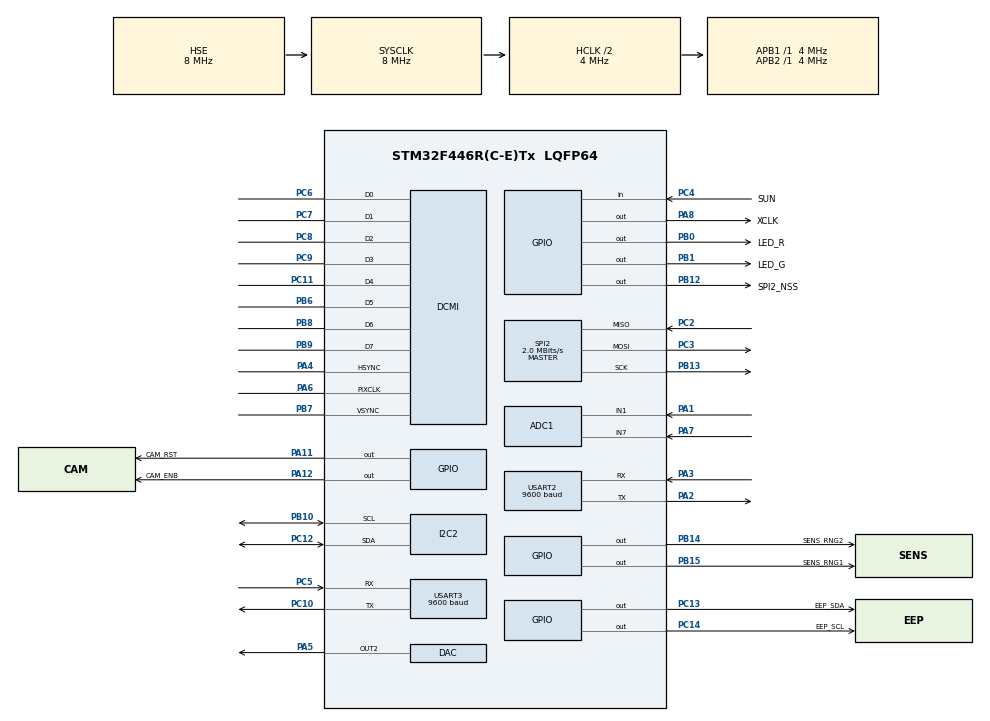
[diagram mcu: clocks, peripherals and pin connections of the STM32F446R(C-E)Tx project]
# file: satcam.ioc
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ADC1.Channel-0\#ChannelRegularConversion=ADC_CHANNEL_1
ADC1.ClockPrescaler=ADC_CLOCK_SYNC_PCLK_DIV2
ADC1.ContinuousConvMode=ENABLE
ADC1.EOCSelection=ADC_EOC_SEQ_CONV
ADC1.InjNumberOfConversion=0
ADC1.NbrOfConversion=1
ADC1.NbrOfConversionFlag=1
ADC1.Rank-0\#ChannelRegularConversion=1
ADC1.SamplingTime-0\#ChannelRegularConversion=ADC_SAMPLETIME_144CYCLES
ADC1.ScanConvMode=DISABLE
ADC1.master=1
DAC.DAC_OutputBuffer2=DAC_OUTPUTBUFFER_ENABLE
DAC.DAC_Trigger2=DAC_TRIGGER_T6_TRGO
DAC.WaveGeneration2=DISABLE
DCMI.JPEGMode=DCMI_JPEG_ENABLE
DCMI.PCKPolarity=DCMI_PCKPOLARITY_RISING
DCMI.VSPolarity=DCMI_VSPOLARITY_LOW
Dma.DAC2.0.Direction=DMA_MEMORY_TO_PERIPH
Dma.DAC2.0.FIFOMode=DMA_FIFOMODE_ENABLE
Dma.DAC2.0.FIFOThreshold=DMA_FIFO_THRESHOLD_FULL
Dma.DAC2.0.Instance=DMA1_Stream6
Dma.DAC2.0.MemBurst=DMA_MBURST_INC4
Dma.DAC2.0.MemDataAlignment=DMA_MDATAALIGN_BYTE
Dma.DAC2.0.MemInc=DMA_MINC_ENABLE
Dma.DAC2.0.Mode=DMA_CIRCULAR
Dma.DAC2.0.PeriphBurst=DMA_PBURST_SINGLE
Dma.DAC2.0.PeriphDataAlignment=DMA_PDATAALIGN_BYTE
Dma.DAC2.0.PeriphInc=DMA_PINC_DISABLE
Dma.DAC2.0.Priority=DMA_PRIORITY_HIGH
Dma.DCMI.1.Direction=DMA_PERIPH_TO_MEMORY
Dma.DCMI.1.FIFOMode=DMA_FIFOMODE_ENABLE
Dma.DCMI.1.FIFOThreshold=DMA_FIFO_THRESHOLD_FULL
Dma.DCMI.1.Instance=DMA2_Stream1
Dma.DCMI.1.MemBurst=DMA_MBURST_INC4
Dma.DCMI.1.MemDataAlignment=DMA_MDATAALIGN_WORD
Dma.DCMI.1.MemInc=DMA_MINC_ENABLE
Dma.DCMI.1.Mode=DMA_NORMAL
Dma.DCMI.1.PeriphBurst=DMA_PBURST_SINGLE
Dma.DCMI.1.PeriphDataAlignment=DMA_PDATAALIGN_WORD
Dma.DCMI.1.PeriphInc=DMA_PINC_DISABLE
Dma.DCMI.1.Priority=DMA_PRIORITY_HIGH
Dma.Request0=DAC2
Dma.Request1=DCMI
Dma.Request2=USART3_RX
Dma.Request3=SPI2_RX
Dma.Request4=SPI2_TX
Dma.Request5=USART2_RX
Dma.SPI2_RX.3.Direction=DMA_PERIPH_TO_MEMORY
Dma.SPI2_RX.3.FIFOMode=DMA_FIFOMODE_DISABLE
Dma.SPI2_RX.3.Instance=DMA1_Stream3
Dma.SPI2_RX.3.MemDataAlignment=DMA_MDATAALIGN_BYTE
Dma.SPI2_RX.3.MemInc=DMA_MINC_ENABLE
Dma.SPI2_RX.3.Mode=DMA_NORMAL
Dma.SPI2_RX.3.PeriphDataAlignment=DMA_PDATAALIGN_BYTE
Dma.SPI2_RX.3.PeriphInc=DMA_PINC_DISABLE
Dma.SPI2_RX.3.Priority=DMA_PRIORITY_LOW
Dma.SPI2_TX.4.Direction=DMA_MEMORY_TO_PERIPH
Dma.SPI2_TX.4.FIFOMode=DMA_FIFOMODE_DISABLE
Dma.SPI2_TX.4.Instance=DMA1_Stream4
Dma.SPI2_TX.4.MemDataAlignment=DMA_MDATAALIGN_BYTE
Dma.SPI2_TX.4.MemInc=DMA_MINC_ENABLE
Dma.SPI2_TX.4.Mode=DMA_NORMAL
Dma.SPI2_TX.4.PeriphDataAlignment=DMA_PDATAALIGN_BYTE
Dma.SPI2_TX.4.PeriphInc=DMA_PINC_DISABLE
Dma.SPI2_TX.4.Priority=DMA_PRIORITY_LOW
Dma.USART2_RX.5.Direction=DMA_PERIPH_TO_MEMORY
Dma.USART2_RX.5.FIFOMode=DMA_FIFOMODE_DISABLE
Dma.USART2_RX.5.Instance=DMA1_Stream5
Dma.USART2_RX.5.MemDataAlignment=DMA_MDATAALIGN_BYTE
Dma.USART2_RX.5.MemInc=DMA_MINC_ENABLE
Dma.USART2_RX.5.Mode=DMA_CIRCULAR
Dma.USART2_RX.5.PeriphDataAlignment=DMA_PDATAALIGN_BYTE
Dma.USART2_RX.5.PeriphInc=DMA_PINC_DISABLE
Dma.USART2_RX.5.Priority=DMA_PRIORITY_LOW
Dma.USART3_RX.2.Direction=DMA_PERIPH_TO_MEMORY
Dma.USART3_RX.2.FIFOMode=DMA_FIFOMODE_DISABLE
Dma.USART3_RX.2.Instance=DMA1_Stream1
Dma.USART3_RX.2.MemDataAlignment=DMA_MDATAALIGN_BYTE
Dma.USART3_RX.2.MemInc=DMA_MINC_ENABLE
Dma.USART3_RX.2.Mode=DMA_CIRCULAR
Dma.USART3_RX.2.PeriphDataAlignment=DMA_PDATAALIGN_BYTE
Dma.USART3_RX.2.PeriphInc=DMA_PINC_DISABLE
Dma.USART3_RX.2.Priority=DMA_PRIORITY_LOW
IWDG.Prescaler=IWDG_PRESCALER_32
IWDG.Reload=2000
Mcu.Family=STM32F4
Mcu.Name=STM32F446R(C-E)Tx
Mcu.Package=LQFP64
NVIC.DCMI_IRQn=true\:1\:0\:true\:false\:true
NVIC.DMA1_Stream1_IRQn=true\:2\:0\:true\:false\:true
NVIC.DMA1_Stream3_IRQn=true\:2\:0\:true\:false\:true
NVIC.DMA1_Stream4_IRQn=true\:2\:0\:true\:false\:true
NVIC.DMA1_Stream5_IRQn=true\:2\:0\:true\:false\:true
NVIC.DMA1_Stream6_IRQn=true\:1\:0\:true\:false\:true
NVIC.DMA2_Stream1_IRQn=true\:1\:0\:true\:false\:true
NVIC.PriorityGroup=NVIC_PRIORITYGROUP_2
NVIC.SPI2_IRQn=true\:2\:0\:true\:false\:true
NVIC.USART2_IRQn=true\:2\:0\:true\:false\:true
NVIC.USART3_IRQn=true\:2\:0\:true\:false\:true
PA1.Signal=ADCx_IN1
PA11.GPIO_Label=CAM_RST
PA11.Signal=GPIO_Output
PA12.GPIO_Label=CAM_ENB
PA12.Signal=GPIO_Output
PA13.Mode=Trace_Asynchronous_SW
PA13.Signal=SYS_JTMS-SWDIO
PA14.Mode=Trace_Asynchronous_SW
PA14.Signal=SYS_JTCK-SWCLK
PA2.GPIO_Mode=GPIO_MODE_AF_PP
PA2.GPIO_PuPd=GPIO_PULLUP
PA2.GPIO_Speed=GPIO_SPEED_FREQ_VERY_HIGH
PA2.Mode=Asynchronous
PA2.Signal=USART2_TX
PA3.GPIO_Mode=GPIO_MODE_AF_PP
PA3.GPIO_PuPd=GPIO_PULLUP
PA3.GPIO_Speed=GPIO_SPEED_FREQ_VERY_HIGH
PA3.Mode=Asynchronous
PA3.Signal=USART2_RX
PA4.GPIO_Speed=GPIO_SPEED_FREQ_VERY_HIGH
PA4.Mode=Slave_8_bits_External_Synchro
PA4.Signal=DCMI_HSYNC
PA5.Signal=COMP_DAC2_group
PA6.GPIO_Speed=GPIO_SPEED_FREQ_VERY_HIGH
PA6.Mode=Slave_8_bits_External_Synchro
PA6.Signal=DCMI_PIXCLK
PA7.Signal=ADCx_IN7
PA8.GPIO_Label=XCLK
PA8.GPIO_Speed=GPIO_SPEED_FREQ_VERY_HIGH
PA8.Signal=GPIO_Output
PB0.GPIO_Label=LED_R
PB0.Signal=GPIO_Output
PB1.GPIO_Label=LED_G
PB1.Signal=GPIO_Output
PB10.Mode=I2C
PB10.Signal=I2C2_SCL
PB12.GPIO_Label=SPI2_NSS
PB12.GPIO_Speed=GPIO_SPEED_FREQ_VERY_HIGH
PB12.Signal=GPIO_Output
PB13.GPIO_PuPd=GPIO_NOPULL
PB13.Mode=Full_Duplex_Master
PB13.Signal=SPI2_SCK
PB14.GPIO_Label=SENS_RNG2
PB14.Signal=GPIO_Output
PB15.GPIO_Label=SENS_RNG1
PB15.Signal=GPIO_Output
PB3.Mode=Trace_Asynchronous_SW
PB3.Signal=SYS_JTDO-SWO
PB6.GPIO_Speed=GPIO_SPEED_FREQ_VERY_HIGH
PB6.Mode=Slave_8_bits_External_Synchro
PB6.Signal=DCMI_D5
PB7.GPIO_Speed=GPIO_SPEED_FREQ_VERY_HIGH
PB7.Mode=Slave_8_bits_External_Synchro
PB7.Signal=DCMI_VSYNC
PB8.GPIO_Speed=GPIO_SPEED_FREQ_VERY_HIGH
PB8.Mode=Slave_8_bits_External_Synchro
PB8.Signal=DCMI_D6
PB9.GPIO_Speed=GPIO_SPEED_FREQ_VERY_HIGH
PB9.Mode=Slave_8_bits_External_Synchro
PB9.Signal=DCMI_D7
PC10.Mode=Asynchronous
PC10.Signal=USART3_TX
PC11.GPIO_Speed=GPIO_SPEED_FREQ_VERY_HIGH
PC11.Mode=Slave_8_bits_External_Synchro
PC11.Signal=DCMI_D4
PC12.Mode=I2C
PC12.Signal=I2C2_SDA
PC13.GPIO_Label=EEP_SDA
PC13.GPIO_ModeDefaultOutputPP=GPIO_MODE_OUTPUT_OD
PC13.GPIO_PuPd=GPIO_PULLUP
PC13.Signal=GPIO_Output
PC14-OSC32_IN.GPIO_Label=EEP_SCL
PC14-OSC32_IN.GPIO_ModeDefaultOutputPP=GPIO_MODE_OUTPUT_OD
PC14-OSC32_IN.GPIO_PuPd=GPIO_PULLUP
PC14-OSC32_IN.Signal=GPIO_Output
PC2.GPIO_PuPd=GPIO_NOPULL
PC2.Mode=Full_Duplex_Master
PC2.Signal=SPI2_MISO
PC3.GPIO_PuPd=GPIO_NOPULL
PC3.Mode=Full_Duplex_Master
PC3.Signal=SPI2_MOSI
PC4.GPIO_Label=SUN
PC4.GPIO_PuPd=GPIO_PULLDOWN
PC4.Signal=GPIO_Input
PC5.Mode=Asynchronous
PC5.Signal=USART3_RX
PC6.GPIO_Speed=GPIO_SPEED_FREQ_VERY_HIGH
PC6.Mode=Slave_8_bits_External_Synchro
PC6.Signal=DCMI_D0
PC7.GPIO_Speed=GPIO_SPEED_FREQ_VERY_HIGH
PC7.Mode=Slave_8_bits_External_Synchro
PC7.Signal=DCMI_D1
PC8.GPIO_Speed=GPIO_SPEED_FREQ_VERY_HIGH
PC8.Mode=Slave_8_bits_External_Synchro
PC8.Signal=DCMI_D2
PC9.GPIO_Speed=GPIO_SPEED_FREQ_VERY_HIGH
PC9.Mode=Slave_8_bits_External_Synchro
PC9.Signal=DCMI_D3
PH0-OSC_IN.Mode=HSE-External-Oscillator
PH0-OSC_IN.Signal=RCC_OSC_IN
PH1-OSC_OUT.Mode=HSE-External-Oscillator
PH1-OSC_OUT.Signal=RCC_OSC_OUT
ProjectManager.HeapSize=0x200
ProjectManager.StackSize=0x400
ProjectManager.TargetToolchain=SW4STM32
RCC.48MHZClocksFreq_Value=84000000
RCC.AHBCLKDivider=RCC_SYSCLK_DIV2
RCC.AHBFreq_Value=4000000
RCC.APB1Freq_Value=4000000
RCC.APB1TimFreq_Value=4000000
RCC.APB2Freq_Value=4000000
RCC.APB2TimFreq_Value=4000000
RCC.CortexFreq_Value=4000000
RCC.HCLKFreq_Value=4000000
RCC.HSE_VALUE=8000000
RCC.HSI_VALUE=16000000
RCC.PLLI2SM=63
RCC.PLLI2SN=50
RCC.PLLM=8
RCC.PLLN=160
RCC.PLLR=7
RCC.PLLSAIM=63
RCC.PLLSAIN=50
RCC.PLLSourceVirtual=RCC_PLLSOURCE_HSE
RCC.PREFETCH_ENABLE=0
RCC.RCC_MCO1Source=RCC_MCO1SOURCE_PLLCLK
RCC.RCC_MCODiv1=RCC_MCODIV_5
RCC.SYSCLKFreq_VALUE=8000000
RCC.SYSCLKSource=RCC_SYSCLKSOURCE_HSE
RCC.USBFreq_Value=80000000
RCC.VCOOutputFreq_Value=160000000
RCC.VDD_VALUE=2.8
SH.ADCx_IN1.0=ADC1_IN1,IN1
SH.ADCx_IN7.0=ADC1_IN7,IN7
SH.COMP_DAC2_group.0=DAC_OUT2,DAC_OUT2
SPI2.CLKPhase=SPI_PHASE_2EDGE
SPI2.CLKPolarity=SPI_POLARITY_HIGH
SPI2.CalculateBaudRate=2.0 MBits/s
SPI2.Mode=SPI_MODE_MASTER
TIM6.Period=49
TIM6.Prescaler=19
TIM6.TIM_MasterOutputTrigger=TIM_TRGO_UPDATE
USART2.BaudRate=9600
USART3.BaudRate=9600
USART3.Mode=UART_MODE_TX_RX
VP_ADC1_TempSens_Input.Mode=IN-TempSens
VP_CRC_VS_CRC.Mode=CRC_Activate
VP_IWDG_VS_IWDG.Mode=IWDG_Activate
VP_TIM6_VS_ClockSourceINT.Mode=Enable_Timer
board=NUCLEO-F446RE

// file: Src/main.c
/**
  ******************************************************************************
  * File Name          : main.c
  * Description        : Main program body
  ******************************************************************************
  *
  * COPYRIGHT(c) 2017 STMicroelectronics
  *
  * Redistribution and use in source and binary forms, with or without modification,
  * are permitted provided that the following conditions are met:
  *   1. Redistributions of source code must retain the above copyright notice,
  *      this list of conditions and the following disclaimer.
  *   2. Redistributions in binary form must reproduce the above copyright notice,
  *      this list of conditions and the following disclaimer in the documentation
  *      and/or other materials provided with the distribution.
  *   3. Neither the name of STMicroelectronics nor the names of its contributors
  *      may be used to endorse or promote products derived from this software
  *      without specific prior written permission.
  *
  * THIS SOFTWARE IS PROVIDED BY THE COPYRIGHT HOLDERS AND CONTRIBUTORS "AS IS"
  * AND ANY EXPRESS OR IMPLIED WARRANTIES, INCLUDING, BUT NOT LIMITED TO, THE
  * IMPLIED WARRANTIES OF MERCHANTABILITY AND FITNESS FOR A PARTICULAR PURPOSE ARE
  * DISCLAIMED. IN NO EVENT SHALL THE COPYRIGHT HOLDER OR CONTRIBUTORS BE LIABLE
  * FOR ANY DIRECT, INDIRECT, INCIDENTAL, SPECIAL, EXEMPLARY, OR CONSEQUENTIAL
  * DAMAGES (INCLUDING, BUT NOT LIMITED TO, PROCUREMENT OF SUBSTITUTE GOODS OR
  * SERVICES; LOSS OF USE, DATA, OR PROFITS; OR BUSINESS INTERRUPTION) HOWEVER
  * CAUSED AND ON ANY THEORY OF LIABILITY, WHETHER IN CONTRACT, STRICT LIABILITY,
  * OR TORT (INCLUDING NEGLIGENCE OR OTHERWISE) ARISING IN ANY WAY OUT OF THE USE
  * OF THIS SOFTWARE, EVEN IF ADVISED OF THE POSSIBILITY OF SUCH DAMAGE.
  *
  ******************************************************************************
  */
#include "main.h"
#include "stm32f4xx_hal.h"

/* USER CODE BEGIN Includes */
#include "cube.h"
#include "eeprom.h"

/* USER CODE END Includes */

ADC_HandleTypeDef hadc1;

CRC_HandleTypeDef hcrc;

DAC_HandleTypeDef hdac;
DMA_HandleTypeDef hdma_dac2;

DCMI_HandleTypeDef hdcmi;
DMA_HandleTypeDef hdma_dcmi;

I2C_HandleTypeDef hi2c2;

IWDG_HandleTypeDef hiwdg;

SPI_HandleTypeDef hspi2;
DMA_HandleTypeDef hdma_spi2_rx;
DMA_HandleTypeDef hdma_spi2_tx;

TIM_HandleTypeDef htim6;

UART_HandleTypeDef huart2;
UART_HandleTypeDef huart3;
DMA_HandleTypeDef hdma_usart2_rx;
DMA_HandleTypeDef hdma_usart3_rx;

/* USER CODE BEGIN PV */
/* Private variables ---------------------------------------------------------*/

/* USER CODE END PV */

void SystemClock_Config(void);
void Error_Handler(void);
static void MX_GPIO_Init(void);
static void MX_DMA_Init(void);
static void MX_ADC1_Init(void);
static void MX_CRC_Init(void);
static void MX_DAC_Init(void);
static void MX_DCMI_Init(void);
static void MX_I2C2_Init(void);
static void MX_IWDG_Init(void);
static void MX_SPI2_Init(void);
static void MX_TIM6_Init(void);
static void MX_USART2_UART_Init(void);
static void MX_USART3_UART_Init(void);

/* USER CODE BEGIN PFP */
/* Private function prototypes -----------------------------------------------*/

/* USER CODE END PFP */

/* USER CODE BEGIN 0 */

void enable_turbo(bool en)
{
    RCC_OscInitTypeDef RCC_OscInitStruct;
    RCC_ClkInitTypeDef RCC_ClkInitStruct;

    if (en) {
        /* enable HSE and PLL */
        RCC_OscInitStruct.OscillatorType = RCC_OSCILLATORTYPE_HSE;
        RCC_OscInitStruct.HSEState = RCC_HSE_ON;
        RCC_OscInitStruct.PLL.PLLState = RCC_PLL_ON;
        RCC_OscInitStruct.PLL.PLLSource = RCC_PLLSOURCE_HSE;
        RCC_OscInitStruct.PLL.PLLM = 8;
        RCC_OscInitStruct.PLL.PLLN = 160;
        RCC_OscInitStruct.PLL.PLLP = RCC_PLLP_DIV2;
        RCC_OscInitStruct.PLL.PLLQ = 2;
        RCC_OscInitStruct.PLL.PLLR = 7;
        HAL_RCC_OscConfig(&RCC_OscInitStruct);

        /* SYSCLK=80MHz, AHB=HCLK=80MHz, APB1=PCLK1=10MHz, APB2=PCLK2=10MHz, 2WS, prefetch enabled */
        RCC_ClkInitStruct.ClockType = RCC_CLOCKTYPE_HCLK|RCC_CLOCKTYPE_SYSCLK|RCC_CLOCKTYPE_PCLK1|RCC_CLOCKTYPE_PCLK2;
        RCC_ClkInitStruct.SYSCLKSource = RCC_SYSCLKSOURCE_PLLCLK;
        RCC_ClkInitStruct.AHBCLKDivider = RCC_SYSCLK_DIV1;
        RCC_ClkInitStruct.APB1CLKDivider = RCC_HCLK_DIV8;
        RCC_ClkInitStruct.APB2CLKDivider = RCC_HCLK_DIV8;
        HAL_RCC_ClockConfig(&RCC_ClkInitStruct, FLASH_LATENCY_2);
        __HAL_FLASH_PREFETCH_BUFFER_ENABLE();

        /* reconfigure dependent timers, clocks, rates */
        HAL_SYSTICK_Config(HAL_RCC_GetHCLKFreq()/1000);
        huart2.Instance->BRR = UART_BRR_SAMPLING16(HAL_RCC_GetPCLK1Freq(), huart2.Init.BaudRate);
        huart3.Instance->BRR = UART_BRR_SAMPLING16(HAL_RCC_GetPCLK1Freq(), huart3.Init.BaudRate);
        htim6.Instance->PSC = (20-1);
        hi2c2.Instance->CR1 |= I2C_CR1_SWRST; // cycle SCCB master reset
        hi2c2.Instance->CR1 &= ~I2C_CR1_SWRST;
        MX_I2C2_Init();
        eeprom_set_freq(HAL_RCC_GetHCLKFreq());
    }
    else {
        /* SYSCLK=8MHz, AHB=HCLK=4MHz, APB1=PCLK1=4MHz, APB2=PCLK2=4MHz, 0WS, prefetch disabled */
        RCC_ClkInitStruct.ClockType = RCC_CLOCKTYPE_HCLK|RCC_CLOCKTYPE_SYSCLK|RCC_CLOCKTYPE_PCLK1|RCC_CLOCKTYPE_PCLK2;
        RCC_ClkInitStruct.SYSCLKSource = RCC_SYSCLKSOURCE_HSE;
        RCC_ClkInitStruct.AHBCLKDivider = RCC_SYSCLK_DIV2;
        RCC_ClkInitStruct.APB1CLKDivider = RCC_HCLK_DIV1;
        RCC_ClkInitStruct.APB2CLKDivider = RCC_HCLK_DIV1;
        HAL_RCC_ClockConfig(&RCC_ClkInitStruct, FLASH_LATENCY_0);
        __HAL_FLASH_PREFETCH_BUFFER_DISABLE();

        /* reconfigure dependent timers, clocks, rates */
        HAL_SYSTICK_Config(HAL_RCC_GetHCLKFreq()/1000);
        huart2.Instance->BRR = UART_BRR_SAMPLING16(HAL_RCC_GetPCLK1Freq(), huart2.Init.BaudRate);
        huart3.Instance->BRR = UART_BRR_SAMPLING16(HAL_RCC_GetPCLK1Freq(), huart3.Init.BaudRate);
        htim6.Instance->PSC = (4-1);
        HAL_I2C_DeInit(&hi2c2);
        eeprom_set_freq(HAL_RCC_GetHCLKFreq());

        /* keep HSE, disable PLL */
        RCC_OscInitStruct.OscillatorType = RCC_OSCILLATORTYPE_HSE;
        RCC_OscInitStruct.HSEState = RCC_HSE_ON;
        RCC_OscInitStruct.PLL.PLLState = RCC_PLL_OFF;
        HAL_RCC_OscConfig(&RCC_OscInitStruct);
    }
}

void HAL_Delay(__IO uint32_t Delay)
{
    uint32_t tickstart = 0;
    tickstart = HAL_GetTick();
    while ((HAL_GetTick() - tickstart) < Delay) {
        /* enter SLEEP mode for next 1ms at most */
        HAL_PWR_EnterSLEEPMode(PWR_MAINREGULATOR_ON, PWR_SLEEPENTRY_WFI);
    }
}

/* USER CODE END 0 */

int main(void)
{

  /* MCU Configuration----------------------------------------------------------*/

  /* Reset of all peripherals, Initializes the Flash interface and the Systick. */
  HAL_Init();

  /* Configure the system clock */
  SystemClock_Config();

  /* Initialize all configured peripherals */
  MX_GPIO_Init();
  MX_DMA_Init();
  MX_ADC1_Init();
  MX_CRC_Init();
  MX_DAC_Init();
  MX_DCMI_Init();
  MX_I2C2_Init();
  MX_IWDG_Init();
  MX_SPI2_Init();
  MX_TIM6_Init();
  MX_USART2_UART_Init();
  MX_USART3_UART_Init();

  /* USER CODE BEGIN 2 */

  enable_turbo(false);
  main_satcam();

  /* USER CODE END 2 */

  /* Infinite loop */
  while (1)
  {

  }

}

/** System Clock Configuration
*/
void SystemClock_Config(void)
{

  RCC_OscInitTypeDef RCC_OscInitStruct;
  RCC_ClkInitTypeDef RCC_ClkInitStruct;

    /**Configure the main internal regulator output voltage
    */
  __HAL_RCC_PWR_CLK_ENABLE();

  __HAL_PWR_VOLTAGESCALING_CONFIG(PWR_REGULATOR_VOLTAGE_SCALE3);

    /**Initializes the CPU, AHB and APB busses clocks
    */
  RCC_OscInitStruct.OscillatorType = RCC_OSCILLATORTYPE_LSI|RCC_OSCILLATORTYPE_HSE;
  RCC_OscInitStruct.HSEState = RCC_HSE_ON;
  RCC_OscInitStruct.LSIState = RCC_LSI_ON;
  RCC_OscInitStruct.PLL.PLLState = RCC_PLL_NONE;
  if (HAL_RCC_OscConfig(&RCC_OscInitStruct) != HAL_OK)
  {
    Error_Handler();
  }

    /**Initializes the CPU, AHB and APB busses clocks
    */
  RCC_ClkInitStruct.ClockType = RCC_CLOCKTYPE_HCLK|RCC_CLOCKTYPE_SYSCLK
                              |RCC_CLOCKTYPE_PCLK1|RCC_CLOCKTYPE_PCLK2;
  RCC_ClkInitStruct.SYSCLKSource = RCC_SYSCLKSOURCE_HSE;
  RCC_ClkInitStruct.AHBCLKDivider = RCC_SYSCLK_DIV2;
  RCC_ClkInitStruct.APB1CLKDivider = RCC_HCLK_DIV1;
  RCC_ClkInitStruct.APB2CLKDivider = RCC_HCLK_DIV1;

  if (HAL_RCC_ClockConfig(&RCC_ClkInitStruct, FLASH_LATENCY_0) != HAL_OK)
  {
    Error_Handler();
  }

    /**Configure the Systick interrupt time
    */
  HAL_SYSTICK_Config(HAL_RCC_GetHCLKFreq()/1000);

    /**Configure the Systick
    */
  HAL_SYSTICK_CLKSourceConfig(SYSTICK_CLKSOURCE_HCLK);

  /* SysTick_IRQn interrupt configuration */
  HAL_NVIC_SetPriority(SysTick_IRQn, 0, 0);
}

/* ADC1 init function */
static void MX_ADC1_Init(void)
{

  ADC_ChannelConfTypeDef sConfig;

    /**Configure the global features of the ADC (Clock, Resolution, Data Alignment and number of conversion)
    */
  hadc1.Instance = ADC1;
  hadc1.Init.ClockPrescaler = ADC_CLOCK_SYNC_PCLK_DIV2;
  hadc1.Init.Resolution = ADC_RESOLUTION_12B;
  hadc1.Init.ScanConvMode = DISABLE;
  hadc1.Init.ContinuousConvMode = ENABLE;
  hadc1.Init.DiscontinuousConvMode = DISABLE;
  hadc1.Init.ExternalTrigConvEdge = ADC_EXTERNALTRIGCONVEDGE_NONE;
  hadc1.Init.DataAlign = ADC_DATAALIGN_RIGHT;
  hadc1.Init.NbrOfConversion = 1;
  hadc1.Init.DMAContinuousRequests = DISABLE;
  hadc1.Init.EOCSelection = ADC_EOC_SEQ_CONV;
  if (HAL_ADC_Init(&hadc1) != HAL_OK)
  {
    Error_Handler();
  }

    /**Configure for the selected ADC regular channel its corresponding rank in the sequencer and its sample time.
    */
  sConfig.Channel = ADC_CHANNEL_1;
  sConfig.Rank = 1;
  sConfig.SamplingTime = ADC_SAMPLETIME_144CYCLES;
  if (HAL_ADC_ConfigChannel(&hadc1, &sConfig) != HAL_OK)
  {
    Error_Handler();
  }

}

/* CRC init function */
static void MX_CRC_Init(void)
{

  hcrc.Instance = CRC;
  if (HAL_CRC_Init(&hcrc) != HAL_OK)
  {
    Error_Handler();
  }

}

/* DAC init function */
static void MX_DAC_Init(void)
{

  DAC_ChannelConfTypeDef sConfig;

    /**DAC Initialization
    */
  hdac.Instance = DAC;
  if (HAL_DAC_Init(&hdac) != HAL_OK)
  {
    Error_Handler();
  }

    /**DAC channel OUT2 config
    */
  sConfig.DAC_Trigger = DAC_TRIGGER_T6_TRGO;
  sConfig.DAC_OutputBuffer = DAC_OUTPUTBUFFER_ENABLE;
  if (HAL_DAC_ConfigChannel(&hdac, &sConfig, DAC_CHANNEL_2) != HAL_OK)
  {
    Error_Handler();
  }

}

/* DCMI init function */
static void MX_DCMI_Init(void)
{

  hdcmi.Instance = DCMI;
  hdcmi.Init.SynchroMode = DCMI_SYNCHRO_HARDWARE;
  hdcmi.Init.PCKPolarity = DCMI_PCKPOLARITY_RISING;
  hdcmi.Init.VSPolarity = DCMI_VSPOLARITY_LOW;
  hdcmi.Init.HSPolarity = DCMI_HSPOLARITY_LOW;
  hdcmi.Init.CaptureRate = DCMI_CR_ALL_FRAME;
  hdcmi.Init.ExtendedDataMode = DCMI_EXTEND_DATA_8B;
  hdcmi.Init.JPEGMode = DCMI_JPEG_ENABLE;
  hdcmi.Init.ByteSelectMode = DCMI_BSM_ALL;
  hdcmi.Init.ByteSelectStart = DCMI_OEBS_ODD;
  hdcmi.Init.LineSelectMode = DCMI_LSM_ALL;
  hdcmi.Init.LineSelectStart = DCMI_OELS_ODD;
  if (HAL_DCMI_Init(&hdcmi) != HAL_OK)
  {
    Error_Handler();
  }

}

/* I2C2 init function */
static void MX_I2C2_Init(void)
{

  hi2c2.Instance = I2C2;
  hi2c2.Init.ClockSpeed = 100000;
  hi2c2.Init.DutyCycle = I2C_DUTYCYCLE_2;
  hi2c2.Init.OwnAddress1 = 0;
  hi2c2.Init.AddressingMode = I2C_ADDRESSINGMODE_7BIT;
  hi2c2.Init.DualAddressMode = I2C_DUALADDRESS_DISABLE;
  hi2c2.Init.OwnAddress2 = 0;
  hi2c2.Init.GeneralCallMode = I2C_GENERALCALL_DISABLE;
  hi2c2.Init.NoStretchMode = I2C_NOSTRETCH_DISABLE;
  if (HAL_I2C_Init(&hi2c2) != HAL_OK)
  {
    Error_Handler();
  }

}

/* IWDG init function */
static void MX_IWDG_Init(void)
{

  hiwdg.Instance = IWDG;
  hiwdg.Init.Prescaler = IWDG_PRESCALER_32;
  hiwdg.Init.Reload = 2000;
  if (HAL_IWDG_Init(&hiwdg) != HAL_OK)
  {
    Error_Handler();
  }

}

/* SPI2 init function */
static void MX_SPI2_Init(void)
{

  hspi2.Instance = SPI2;
  hspi2.Init.Mode = SPI_MODE_MASTER;
  hspi2.Init.Direction = SPI_DIRECTION_2LINES;
  hspi2.Init.DataSize = SPI_DATASIZE_8BIT;
  hspi2.Init.CLKPolarity = SPI_POLARITY_HIGH;
  hspi2.Init.CLKPhase = SPI_PHASE_2EDGE;
  hspi2.Init.NSS = SPI_NSS_SOFT;
  hspi2.Init.BaudRatePrescaler = SPI_BAUDRATEPRESCALER_2;
  hspi2.Init.FirstBit = SPI_FIRSTBIT_MSB;
  hspi2.Init.TIMode = SPI_TIMODE_DISABLE;
  hspi2.Init.CRCCalculation = SPI_CRCCALCULATION_DISABLE;
  hspi2.Init.CRCPolynomial = 10;
  if (HAL_SPI_Init(&hspi2) != HAL_OK)
  {
    Error_Handler();
  }

}

/* TIM6 init function */
static void MX_TIM6_Init(void)
{

  TIM_MasterConfigTypeDef sMasterConfig;

  htim6.Instance = TIM6;
  htim6.Init.Prescaler = 19;
  htim6.Init.CounterMode = TIM_COUNTERMODE_UP;
  htim6.Init.Period = 49;
  if (HAL_TIM_Base_Init(&htim6) != HAL_OK)
  {
    Error_Handler();
  }

  sMasterConfig.MasterOutputTrigger = TIM_TRGO_UPDATE;
  sMasterConfig.MasterSlaveMode = TIM_MASTERSLAVEMODE_DISABLE;
  if (HAL_TIMEx_MasterConfigSynchronization(&htim6, &sMasterConfig) != HAL_OK)
  {
    Error_Handler();
  }

}

/* USART2 init function */
static void MX_USART2_UART_Init(void)
{

  huart2.Instance = USART2;
  huart2.Init.BaudRate = 9600;
  huart2.Init.WordLength = UART_WORDLENGTH_8B;
  huart2.Init.StopBits = UART_STOPBITS_1;
  huart2.Init.Parity = UART_PARITY_NONE;
  huart2.Init.Mode = UART_MODE_TX_RX;
  huart2.Init.HwFlowCtl = UART_HWCONTROL_NONE;
  huart2.Init.OverSampling = UART_OVERSAMPLING_16;
  if (HAL_UART_Init(&huart2) != HAL_OK)
  {
    Error_Handler();
  }

}

/* USART3 init function */
static void MX_USART3_UART_Init(void)
{

  huart3.Instance = USART3;
  huart3.Init.BaudRate = 9600;
  huart3.Init.WordLength = UART_WORDLENGTH_8B;
  huart3.Init.StopBits = UART_STOPBITS_1;
  huart3.Init.Parity = UART_PARITY_NONE;
  huart3.Init.Mode = UART_MODE_TX_RX;
  huart3.Init.HwFlowCtl = UART_HWCONTROL_NONE;
  huart3.Init.OverSampling = UART_OVERSAMPLING_16;
  if (HAL_UART_Init(&huart3) != HAL_OK)
  {
    Error_Handler();
  }

}

static void MX_DMA_Init(void)
{
  /* DMA controller clock enable */
  __HAL_RCC_DMA1_CLK_ENABLE();
  __HAL_RCC_DMA2_CLK_ENABLE();

  /* DMA interrupt init */
  /* DMA1_Stream1_IRQn interrupt configuration */
  HAL_NVIC_SetPriority(DMA1_Stream1_IRQn, 2, 0);
  HAL_NVIC_EnableIRQ(DMA1_Stream1_IRQn);
  /* DMA1_Stream3_IRQn interrupt configuration */
  HAL_NVIC_SetPriority(DMA1_Stream3_IRQn, 2, 0);
  HAL_NVIC_EnableIRQ(DMA1_Stream3_IRQn);
  /* DMA1_Stream4_IRQn interrupt configuration */
  HAL_NVIC_SetPriority(DMA1_Stream4_IRQn, 2, 0);
  HAL_NVIC_EnableIRQ(DMA1_Stream4_IRQn);
  /* DMA1_Stream5_IRQn interrupt configuration */
  HAL_NVIC_SetPriority(DMA1_Stream5_IRQn, 2, 0);
  HAL_NVIC_EnableIRQ(DMA1_Stream5_IRQn);
  /* DMA1_Stream6_IRQn interrupt configuration */
  HAL_NVIC_SetPriority(DMA1_Stream6_IRQn, 1, 0);
  HAL_NVIC_EnableIRQ(DMA1_Stream6_IRQn);
  /* DMA2_Stream1_IRQn interrupt configuration */
  HAL_NVIC_SetPriority(DMA2_Stream1_IRQn, 1, 0);
  HAL_NVIC_EnableIRQ(DMA2_Stream1_IRQn);

}

/** Configure pins as
        * Analog
        * Input
        * Output
        * EVENT_OUT
        * EXTI
        * Free pins are configured automatically as Analog (this feature is enabled through
        * the Code Generation settings)
*/
static void MX_GPIO_Init(void)
{

  GPIO_InitTypeDef GPIO_InitStruct;

  /* GPIO Ports Clock Enable */
  __HAL_RCC_GPIOC_CLK_ENABLE();
  __HAL_RCC_GPIOH_CLK_ENABLE();
  __HAL_RCC_GPIOA_CLK_ENABLE();
  __HAL_RCC_GPIOB_CLK_ENABLE();
  __HAL_RCC_GPIOD_CLK_ENABLE();

  /*Configure GPIO pin Output Level */
  HAL_GPIO_WritePin(GPIOC, EEP_SDA_Pin|EEP_SCL_Pin, GPIO_PIN_RESET);

  /*Configure GPIO pin Output Level */
  HAL_GPIO_WritePin(GPIOB, LED_R_Pin|LED_G_Pin|SPI2_NSS_Pin|SENS_RNG2_Pin
                          |SENS_RNG1_Pin, GPIO_PIN_RESET);

  /*Configure GPIO pin Output Level */
  HAL_GPIO_WritePin(GPIOA, XCLK_Pin|CAM_RST_Pin|CAM_ENB_Pin, GPIO_PIN_RESET);

  /*Configure GPIO pins : EEP_SDA_Pin EEP_SCL_Pin */
  GPIO_InitStruct.Pin = EEP_SDA_Pin|EEP_SCL_Pin;
  GPIO_InitStruct.Mode = GPIO_MODE_OUTPUT_OD;
  GPIO_InitStruct.Pull = GPIO_PULLUP;
  GPIO_InitStruct.Speed = GPIO_SPEED_FREQ_LOW;
  HAL_GPIO_Init(GPIOC, &GPIO_InitStruct);

  /*Configure GPIO pins : PC15 PC0 PC1 */
  GPIO_InitStruct.Pin = GPIO_PIN_15|GPIO_PIN_0|GPIO_PIN_1;
  GPIO_InitStruct.Mode = GPIO_MODE_ANALOG;
  GPIO_InitStruct.Pull = GPIO_NOPULL;
  HAL_GPIO_Init(GPIOC, &GPIO_InitStruct);

  /*Configure GPIO pins : PA0 PA9 PA10 PA15 */
  GPIO_InitStruct.Pin = GPIO_PIN_0|GPIO_PIN_9|GPIO_PIN_10|GPIO_PIN_15;
  GPIO_InitStruct.Mode = GPIO_MODE_ANALOG;
  GPIO_InitStruct.Pull = GPIO_NOPULL;
  HAL_GPIO_Init(GPIOA, &GPIO_InitStruct);

  /*Configure GPIO pin : SUN_Pin */
  GPIO_InitStruct.Pin = SUN_Pin;
  GPIO_InitStruct.Mode = GPIO_MODE_INPUT;
  GPIO_InitStruct.Pull = GPIO_PULLDOWN;
  HAL_GPIO_Init(SUN_GPIO_Port, &GPIO_InitStruct);

  /*Configure GPIO pins : LED_R_Pin LED_G_Pin SENS_RNG2_Pin SENS_RNG1_Pin */
  GPIO_InitStruct.Pin = LED_R_Pin|LED_G_Pin|SENS_RNG2_Pin|SENS_RNG1_Pin;
  GPIO_InitStruct.Mode = GPIO_MODE_OUTPUT_PP;
  GPIO_InitStruct.Pull = GPIO_NOPULL;
  GPIO_InitStruct.Speed = GPIO_SPEED_FREQ_LOW;
  HAL_GPIO_Init(GPIOB, &GPIO_InitStruct);

  /*Configure GPIO pins : PB2 PB4 PB5 */
  GPIO_InitStruct.Pin = GPIO_PIN_2|GPIO_PIN_4|GPIO_PIN_5;
  GPIO_InitStruct.Mode = GPIO_MODE_ANALOG;
  GPIO_InitStruct.Pull = GPIO_NOPULL;
  HAL_GPIO_Init(GPIOB, &GPIO_InitStruct);

  /*Configure GPIO pin : SPI2_NSS_Pin */
  GPIO_InitStruct.Pin = SPI2_NSS_Pin;
  GPIO_InitStruct.Mode = GPIO_MODE_OUTPUT_PP;
  GPIO_InitStruct.Pull = GPIO_NOPULL;
  GPIO_InitStruct.Speed = GPIO_SPEED_FREQ_VERY_HIGH;
  HAL_GPIO_Init(SPI2_NSS_GPIO_Port, &GPIO_InitStruct);

  /*Configure GPIO pin : XCLK_Pin */
  GPIO_InitStruct.Pin = XCLK_Pin;
  GPIO_InitStruct.Mode = GPIO_MODE_OUTPUT_PP;
  GPIO_InitStruct.Pull = GPIO_NOPULL;
  GPIO_InitStruct.Speed = GPIO_SPEED_FREQ_VERY_HIGH;
  HAL_GPIO_Init(XCLK_GPIO_Port, &GPIO_InitStruct);

  /*Configure GPIO pins : CAM_RST_Pin CAM_ENB_Pin */
  GPIO_InitStruct.Pin = CAM_RST_Pin|CAM_ENB_Pin;
  GPIO_InitStruct.Mode = GPIO_MODE_OUTPUT_PP;
  GPIO_InitStruct.Pull = GPIO_NOPULL;
  GPIO_InitStruct.Speed = GPIO_SPEED_FREQ_LOW;
  HAL_GPIO_Init(GPIOA, &GPIO_InitStruct);

  /*Configure GPIO pin : PD2 */
  GPIO_InitStruct.Pin = GPIO_PIN_2;
  GPIO_InitStruct.Mode = GPIO_MODE_ANALOG;
  GPIO_InitStruct.Pull = GPIO_NOPULL;
  HAL_GPIO_Init(GPIOD, &GPIO_InitStruct);

}

void Error_Handler(void)
{
  /* USER CODE BEGIN Error_Handler */

  // just return - try to recover and continue

  /* USER CODE END Error_Handler */
}

/************************ (C) COPYRIGHT STMicroelectronics *****END OF FILE****/
